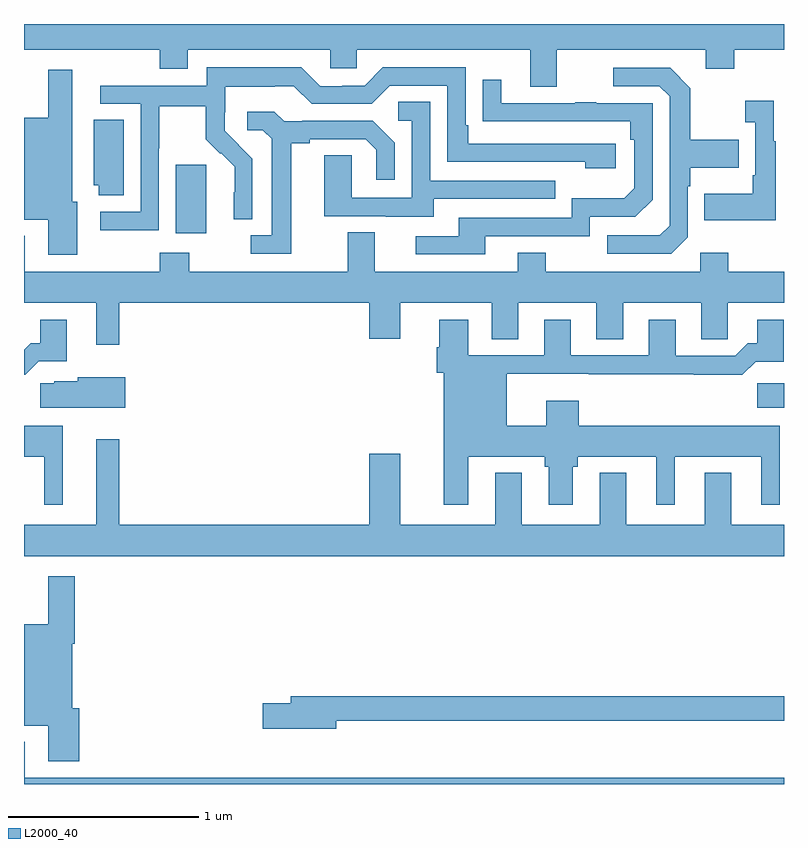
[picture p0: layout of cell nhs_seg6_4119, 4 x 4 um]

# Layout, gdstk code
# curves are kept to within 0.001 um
import gdstk
lib = gdstk.Library(unit=1e-6, precision=1e-09)
def R(c, l, rs):  # rectangles x0, y0, x1, y1
    for r in rs: c.add(gdstk.rectangle(r[:2], r[2:], *l))
def P(c, l, *ps):  # polygons
    for p in ps: c.add(gdstk.Polygon(p, *l))
L2000_40 = (2000, 40)

nhs_seg6_4119 = lib.new_cell('nhs_seg6_4119')
R(nhs_seg6_4119, L2000_40, [(358.86,917.48,359,917.609), (355.799,918.399,355.96,918.76)])
P(nhs_seg6_4119, L2000_40, [(357.805,919.364),(358.589,919.364),(358.589,919.265),(358.737,919.265),(358.737,919.364),(359,919.364),(359,919.5),(355,919.5),(355,919.364),(355.714,919.364),(355.714,919.265),(355.861,919.265),(355.861,919.364),(356.613,919.364),(356.613,919.266),(356.751,919.266),(356.751,919.364),(357.665,919.364),(357.665,919.17),(357.805,919.17)],
  [(355.71,918.847),(355.713,918.847),(355.713,919.068),(355.957,919.068),(355.957,918.893),(356.034,918.816),(356.037,918.819),(356.108,918.749),(356.108,918.614),(356.105,918.614),(356.105,918.472),(356.202,918.472),(356.202,918.79),(356.056,918.938),(356.056,919.035),(356.058,919.035),(356.058,919.169),(356.321,919.169),(356.321,919.173),(356.421,919.173),(356.514,919.08),(356.829,919.08),(356.925,919.176),(357.228,919.176),(357.228,918.774),(357.953,918.774),(357.953,918.74),(358.114,918.74),(358.114,918.87),(357.337,918.87),(357.337,918.967),(357.324,918.967),(357.324,919.272),(356.889,919.272),(356.793,919.176),(356.675,919.176),(356.675,919.173),(356.559,919.173),(356.459,919.273),(355.962,919.273),(355.962,919.176),(355.401,919.176),(355.401,919.08),(355.614,919.08),(355.614,918.513),(355.401,918.513),(355.401,918.415),(355.71,918.415)],
  [(358.494,918.378),(358.494,918.647),(358.507,918.647),(358.507,918.743),(358.763,918.743),(358.763,918.891),(358.507,918.891),(358.507,919.163),(358.401,919.269),(358.101,919.269),(358.101,919.173),(358.344,919.173),(358.398,919.119),(358.398,918.438),(358.347,918.387),(358.071,918.387),(358.071,918.291),(358.407,918.291)],
  [(355.279,918.564),(355.255,918.564),(355.255,919.258),(355.127,919.258),(355.127,919.006),(355,919.006),(355,918.471),(355.127,918.471),(355.127,918.285),(355.279,918.285)],
  [(357.427,918.384),(357.978,918.384),(357.978,918.486),(358.218,918.486),(358.308,918.576),(358.308,919.083),(358.013,919.083),(358.013,919.088),(357.901,919.088),(357.901,919.083),(357.511,919.083),(357.511,919.207),(357.415,919.207),(357.415,918.988),(358.192,918.987),(358.192,918.89),(358.212,918.89),(358.212,918.636),(358.159,918.583),(357.882,918.583),(357.882,918.48),(357.287,918.48),(357.287,918.384),(357.063,918.384),(357.063,918.288),(357.427,918.288)],
  [(358.957,918.883),(358.945,918.883),(358.945,919.096),(358.797,919.096),(358.797,918.983),(358.848,918.983),(358.848,918.703),(358.836,918.703),(358.836,918.607),(358.579,918.607),(358.579,918.467),(358.957,918.467)],
  [(357.157,918.579),(357.797,918.579),(357.797,918.675),(357.138,918.675),(357.138,919.091),(356.97,919.091),(356.97,918.99),(357.042,918.99),(357.042,918.585),(356.724,918.585),(356.724,918.809),(356.579,918.809),(356.579,918.489),(356.903,918.489),(356.903,918.485),(357.157,918.485)],
  [(356.407,918.872),(356.503,918.872),(356.503,918.894),(356.798,918.894),(356.855,918.837),(356.855,918.681),(356.952,918.681),(356.952,918.874),(356.836,918.99),(356.464,918.99),(356.464,918.987),(356.37,918.987),(356.318,919.039),(356.175,919.039),(356.175,918.942),(356.256,918.942),(356.303,918.895),(356.303,918.387),(356.193,918.387),(356.193,918.291),(356.407,918.291)],
  [(355.525,918.995),(355.367,918.995),(355.367,918.651),(355.394,918.651),(355.394,918.598),(355.525,918.598)],
  [(355.501,918.032),(356.816,918.032),(356.816,917.844),(356.98,917.844),(356.98,918.032),(357.461,918.032),(357.461,917.842),(357.601,917.842),(357.601,918.032),(358.013,918.032),(358.013,917.842),(358.153,917.842),(358.153,918.032),(358.565,918.032),(358.565,917.842),(358.704,917.842),(358.704,918.032),(359,918.032),(359,918.196),(358.707,918.196),(358.707,918.295),(358.56,918.295),(358.56,918.196),(357.747,918.196),(357.747,918.295),(357.599,918.295),(357.599,918.196),(356.845,918.196),(356.845,918.404),(356.705,918.404),(356.705,918.196),(355.869,918.196),(355.869,918.295),(355.714,918.295),(355.714,918.196),(355.003,918.196),(355.003,918.386),(355,918.386),(355,918.032),(355.379,918.032),(355.379,917.811),(355.501,917.811)],
  [(357.337,917.222),(357.742,917.222),(357.742,917.169),(357.761,917.169),(357.761,916.971),(357.889,916.971),(357.889,917.169),(357.915,917.169),(357.915,917.222),(358.328,917.222),(358.328,916.971),(358.426,916.971),(358.426,917.222),(358.88,917.222),(358.88,916.971),(358.978,916.971),(358.978,917.386),(357.92,917.386),(357.92,917.518),(357.749,917.518),(357.749,917.386),(357.541,917.386),(357.541,917.66),(357.973,917.66),(357.973,917.656),(358.525,917.656),(358.525,917.654),(358.781,917.654),(358.85,917.723),(358.999,917.723),(358.999,917.944),(358.859,917.944),(358.859,917.821),(358.81,917.821),(358.743,917.754),(358.429,917.754),(358.429,917.944),(358.289,917.944),(358.289,917.757),(357.877,917.757),(357.877,917.944),(357.737,917.944),(357.737,917.757),(357.337,917.757),(357.337,917.944),(357.185,917.944),(357.185,917.798),(357.173,917.798),(357.173,917.664),(357.209,917.664),(357.209,916.971),(357.337,916.971)],
  [(355.077,917.724),(355.225,917.724),(355.225,917.944),(355.085,917.944),(355.085,917.821),(355.036,917.821),(355,917.785),(355,917.654),(355.007,917.654)],
  [(355.534,917.641),(355.284,917.641),(355.284,917.62),(355.158,917.62),(355.158,917.609),(355.086,917.609),(355.086,917.48),(355.534,917.48)],
  [(355.204,917.386),(355,917.386),(355,917.222),(355.106,917.222),(355.106,916.971),(355.204,916.971)],
  [(359,916.864),(358.723,916.864),(358.723,917.137),(358.583,917.137),(358.583,916.864),(358.171,916.864),(358.171,917.137),(358.031,917.137),(358.031,916.864),(357.619,916.864),(357.619,917.137),(357.479,917.137),(357.479,916.864),(356.98,916.864),(356.98,917.239),(356.816,917.239),(356.816,916.864),(355.501,916.864),(355.501,917.314),(355.379,917.314),(355.379,916.864),(355,916.864),(355,916.7),(359,916.7)],
  [(355.292,915.9),(355.255,915.9),(355.255,916.238),(355.268,916.238),(355.268,916.594),(355.127,916.594),(355.127,916.342),(355,916.342),(355,915.807),(355.127,915.807),(355.127,915.621),(355.292,915.621)],
  [(356.644,915.834),(359,915.834),(359,915.962),(356.405,915.962),(356.405,915.926),(356.256,915.926),(356.256,915.791),(356.644,915.791)],
  [(359,915.532),(355.003,915.532),(355.003,915.722),(355,915.722),(355,915.5),(359,915.5)])

lib.write_gds('nhs_seg6_4119.gds')
